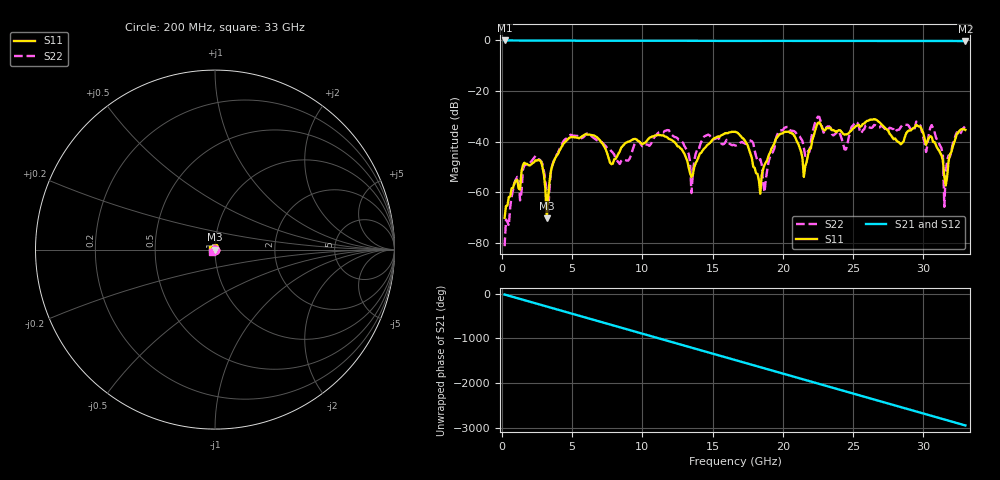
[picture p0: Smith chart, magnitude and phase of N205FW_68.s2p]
# GHZ S RI R 50
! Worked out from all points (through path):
!   329 points, 200 MHz to 33 GHz, reference 50 ohm
!   highest |S21| = -0.02 dB at 200 MHz (marker M1); lowest = -0.3 dB at 33 GHz (marker M2)
!   group delay of S21, straight-line fit = 248 ps
!   lowest |S11| = -70.3 dB at 3.2 GHz (marker M3), VSWR 1.00, Z = 50 + j0.0155 ohm
!   |S11| at or under -10 dB: start of sweep to end of sweep
!   |S22| runs from -81.3 to -30.1 dB; largest |S21 - S12| = 0.0022
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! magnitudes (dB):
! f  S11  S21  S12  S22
! 200 MHz  -70.1  0.0  0.0  -81.3
! 900 MHz  -56.3  0.0  0.0  -56.2
! 2.6 GHz  -47.1  -0.1  -0.1  -46.9
! 3.2 GHz  -70.3  -0.1  -0.1  -59.8
! 3.7 GHz  -47.8  -0.1  -0.1  -47.6
! 5.7 GHz  -38.0  -0.1  -0.1  -38.6
! 11.2 GHz  -37.4  -0.1  -0.1  -36.3
! 13.2 GHz  -47.5  -0.2  -0.2  -43.6
! 13.5 GHz  -54.1  -0.2  -0.2  -60.3
! 14.4 GHz  -42.7  -0.2  -0.2  -38.0
! 16.6 GHz  -36.1  -0.2  -0.2  -41.5
! 18.4 GHz  -60.6  -0.2  -0.2  -46.8
! 18.7 GHz  -49.1  -0.2  -0.2  -59.9
! 19.8 GHz  -37.0  -0.2  -0.2  -35.5
! 21.5 GHz  -53.9  -0.2  -0.2  -42.4
! 22.1 GHz  -39.4  -0.2  -0.2  -36.4
! 27.6 GHz  -36.8  -0.2  -0.2  -34.5
! 30.6 GHz  -38.1  -0.2  -0.2  -33.4
! 31.4 GHz  -47.5  -0.2  -0.2  -45.4
! 31.5 GHz  -53.9  -0.2  -0.2  -65.7
! 31.7 GHz  -53.9  -0.2  -0.2  -47.4
! 33 GHz  -35.4  -0.3  -0.3  -33.8
